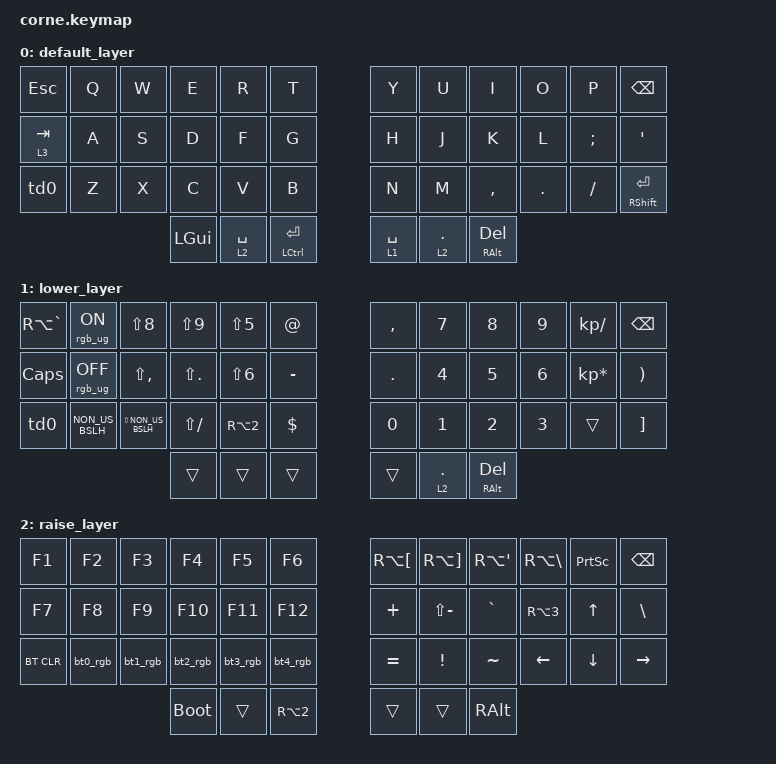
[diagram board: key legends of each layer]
/*
 * Copyright (c) 2020 The ZMK Contributors
 *
 * SPDX-License-Identifier: MIT
 */

#include <behaviors.dtsi>
#include <dt-bindings/zmk/keys.h>
#include <dt-bindings/zmk/bt.h>
#include <dt-bindings/zmk/rgb.h>

/ {
    behaviors {
          td0: tap_dance_0 {
            compatible = "zmk,behavior-tap-dance";
            #binding-cells = <0>;
            tapping-term-ms = <200>;
            bindings = <&kp LSHFT>, <&kp CLCK>;
        };
    };
};
/ {
        keymap {
                compatible = "zmk,keymap";

                default_layer {
// -----------------------------------------------------------------------------------------
// | ESC  |  Q  |  W  |  E  |  R  |  T  |   |  Y  |  U   |  I  |  O  |  P  | BKSP |
// | TAB  |  A  |  S  |  D  |  F  |  G  |   |  H  |  J   |  K  |  L  |  ;  |  '   |
// | SHFT |  Z  |  X  |  C  |  V  |  B  |   |  N  |  M   |  ,  |  .  |  /  | RET  |
//                    | GUI | LWR | CTRL |   | SPAC | RSE  | ALT |
                        bindings = <
   &kp ESC   &kp Q &kp W &kp E &kp R &kp T   &kp Y &kp U  &kp I     &kp O   &kp P    &kp BSPC
   &lt 3 TAB &kp A &kp S &kp D &kp F &kp G   &kp H &kp J  &kp K     &kp L   &kp SEMI &kp SQT
   &td0 &kp Z &kp X &kp C &kp V &kp B   &kp N &kp M  &kp COMMA &kp DOT &kp FSLH &mt RSHFT RET 
       &kp LGUI &lt 2 SPACE &mt LCTRL RET    &lt 1 SPACE &lt 2 DOT  &mt RALT DEL 
                        >;
                };
                lower_layer {
// -----------------------------------------------------------------------------------------
// | ESC  |     |  (  |  )  |  %  |  "  |   |  ,  |  7  |  8  |  9  |  /  | BKSP |
// |      |     |  ;  |  :  |  &  |  '  |   |  .  |  4  |  5  |  6  |  *  |  =   |
// | LCAPS|  <  |  >  |  _  |  $  |  @  |   |  0  |  1  |  2  |  3  |  -  |  +   |
//                    | GUI |     |CTRL |   | ENT |     | ALT | 
                        bindings = <
   &kp RA(GRAVE) &rgb_ug RGB_ON   &kp LS(N8)      &kp LS(N9)   &kp LS(N5)   &kp AT        &kp COMMA   &kp N7     &kp N8  &kp N9  &kp KP_DIVIDE     &kp BSPC
   &kp CLCK      &rgb_ug RGB_OFF  &kp LS(COMMA)   &kp LS(DOT)  &kp LS(N6)   &kp MINUS 	  &kp DOT     &kp N4     &kp N5  &kp N6  &kp KP_MULTIPLY   &kp RPAR
   &td0     &kp NON_US_BSLH  &kp LS(NON_US_BSLH)   &kp LS(FSLH)  &kp RA(N2) &kp DLLR  &kp N0     &kp N1  &kp N2  &kp N3  &trans   &kp RBKT
                          	       &trans         &trans       &trans         &trans     &lt 2 DOT &mt RALT DEL 
                        >;
                };
                raise_layer {
// -----------------------------------------------------------------------------------------
// | F1  | F2 |  F3 | F4  | F5  | F6  |     | [  |  ]  |  {  |  }  | PSCR| BKSP |
// | F7  | F8 |  F9 | F10 | F11 | F12 |     | ¿  |  ?  |  #  |  &  | UP  |  ç   |
// |BTCLR| BT1 | BT2| BT3 |BT4  | BT5 |     |  ¡ |  !  |  %  |  L  | DOWN|  R   |
//             | bootloader |  _  | @   |   | ENT|     | ALT |
//&kp PIPE=Ç    |    &kp TILDE ª  | &kp EQUAL=¡  |
                        bindings = <
   &kp F1       &kp F2       &kp F3       &kp F4       &kp F5       &kp F6          &kp RA(LBKT)  &kp RA(RBKT)   &kp RA(SQT)  &kp RA(BSLH)  &kp PSCRN   &kp BSPC
   &kp F7       &kp F8       &kp F9       &kp F10      &kp F11      &kp F12         &kp PLUS      &kp LS(MINUS)  &kp GRAVE    &kp RA(N3)    &kp UP      &kp BSLH
   &bt BT_CLR   &bt0_rgb    &bt1_rgb    &bt2_rgb     &bt3_rgb     &bt4_rgb       &kp EQUAL     &kp EXCL       &kp TILDE    &kp LEFT      &kp DOWN    &kp RIGHT
                                          &bootloader  &trans 	    &kp RA(N2)      &trans        &trans        &kp RALT
                        >;
                };                      
        };
};
